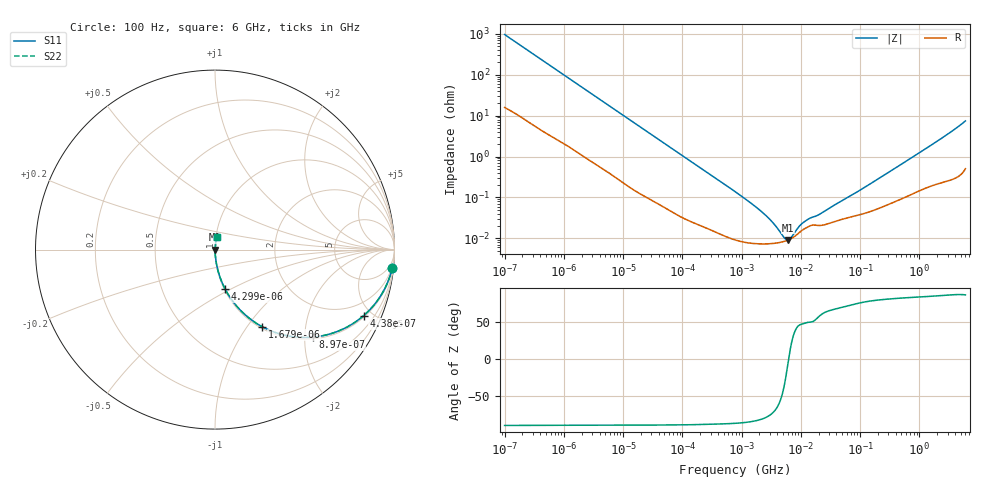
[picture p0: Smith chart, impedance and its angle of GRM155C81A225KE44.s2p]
!Murata Part Number: GRM155C81A225KE44
!These Parameters are Measured in Series Mode Connection
!Data Generated on Mar 30, 2021
!  o--ll--o
!Port1  Port2
!  o------o
!Operation Temp=25[degC], DC Bias Voltage=0[V]
!Freq. Start=100[Hz] Stop=6[GHz] 401[Steps]
# Hz S RI R 50
!Freq.(Hz) S11(Real) S11(Imag) S21(Real) S21(Imag) S12(Real) S12(Imag) S22(Real) S22(Imag)
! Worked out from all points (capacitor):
!   401 points, 100 Hz to 6 GHz, reference 50 ohm
!   read as one part in series: C = 1.65 uF near 109 Hz
!   lowest |Z| = 9.11 mohm at 6.075 MHz (marker M1)
!   series resonance near 6.228 MHz, so ESL is about 400 pH
!   S11 on the Smith chart (normalised r, x): 100 Hz: 1, -19; 438 Hz: 1.08, -4.46; 897 Hz: 1.05, -2.20; 1.679 kHz: 1.03, -1.18; 4.299 kHz: 1.01, -0.47; 6 GHz: 1.01, +0.15
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100  0.9876 -0.1027  0.0124 0.1027  0.0124 0.1027  0.9876 -0.1027
245  0.9363 -0.2352  0.0637 0.2352  0.0637 0.2352  0.9363 -0.2352
438  0.8277 -0.3684  0.1723 0.3684  0.1723 0.3684  0.8277 -0.3684
897  0.5457 -0.4877  0.4543 0.4877  0.4543 0.4877  0.5457 -0.4877
1679  0.2639 -0.4301  0.7361 0.4301  0.7361 0.4301  0.2639 -0.4301
2008  0.2026 -0.3913  0.7974 0.3913  0.7974 0.3913  0.2026 -0.3913
2873  0.1135 -0.3065  0.8865 0.3065  0.8865 0.3065  0.1135 -0.3065
4299  0.0564 -0.2198  0.9436 0.2198  0.9436 0.2198  0.0564 -0.2198
11009  0.0105 -0.0915  0.9895 0.0915  0.9895 0.0915  0.0105 -0.0915
40335  0.00134 -0.0257  0.9987 0.0257  0.9987 0.0257  0.00134 -0.0257
774597  9.36e-05 -0.00139  0.9999 0.00139  0.9999 0.00139  9.36e-05 -0.00139
2268635  7.33e-05 -0.000421  0.9999 0.000421  0.9999 0.000421  7.33e-05 -0.000421
3394479  7.51e-05 -0.000228  0.9999 0.000228  0.9999 0.000228  7.51e-05 -0.000228
5079039  8.32e-05 -7.26e-05  0.9999 7.26e-05  0.9999 7.26e-05  8.32e-05 -7.26e-05
6075234  9.07e-05 -8.7e-06  0.9999 8.7e-06  0.9999 8.7e-06  9.07e-05 -8.7e-06
6948629  9.95e-05 3.87e-05  0.9999 -3.87e-05  0.9999 -3.87e-05  9.95e-05 3.87e-05
1.039699e7  0.000156 0.000167  0.9998 -0.000167  0.9998 -0.000167  0.000156 0.000167
1.555665e7  0.00021 0.000251  0.9998 -0.000251  0.9998 -0.000251  0.00021 0.000251
2.128304e7  0.000207 0.000339  0.9998 -0.000339  0.9998 -0.000339  0.000207 0.000339
3.124326e8  0.000705 0.00416  0.9993 -0.00416  0.9993 -0.00416  0.000705 0.00416
2.048624e9  0.00272 0.024  0.9973 -0.024  0.9973 -0.024  0.00272 0.024
6e9  0.0103 0.0727  0.9897 -0.0727  0.9897 -0.0727  0.0103 0.0727
